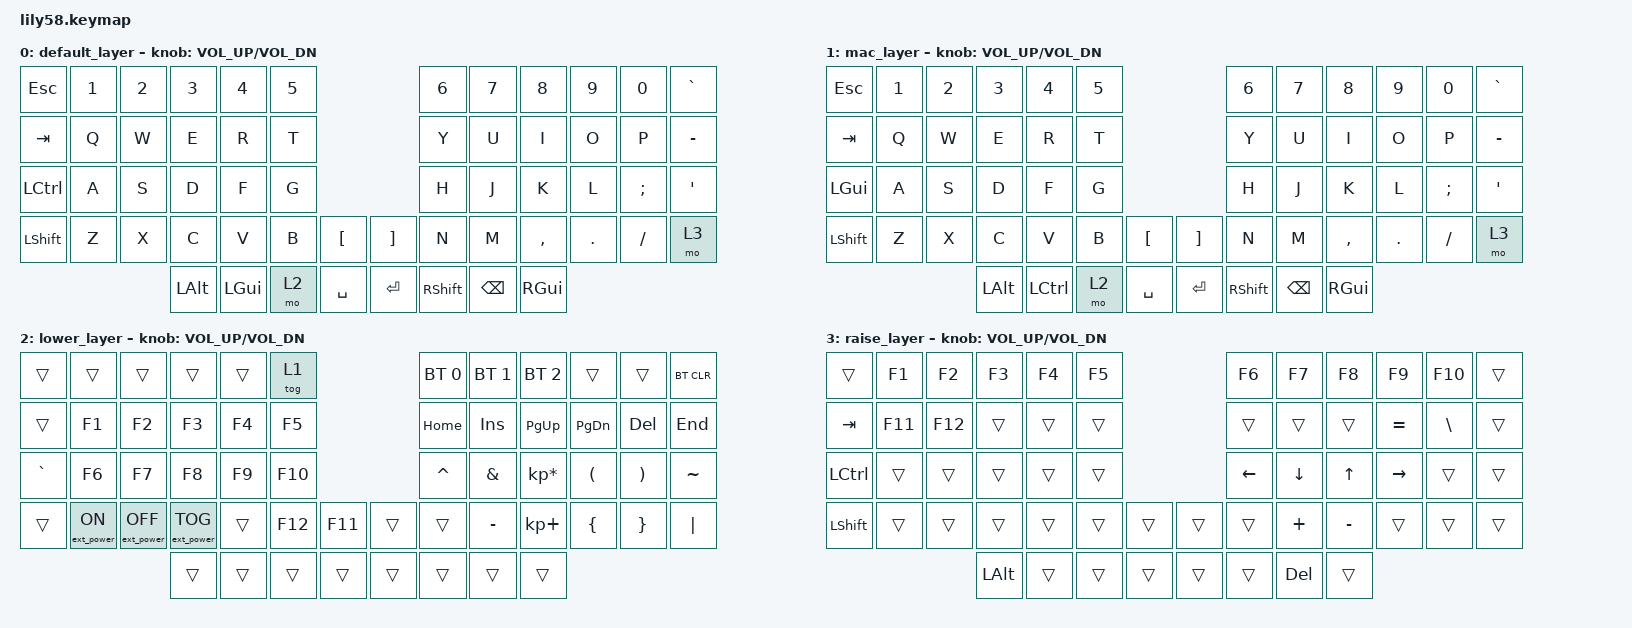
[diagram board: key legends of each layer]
/*
 * Copyright (c) 2020 The ZMK Contributors
 *
 * SPDX-License-Identifier: MIT
 */

#include <behaviors.dtsi>
#include <dt-bindings/zmk/bt.h>
#include <dt-bindings/zmk/ext_power.h>
#include <dt-bindings/zmk/keys.h>

#define WINDOWS 0;
#define MAC 1;

/ {
    keymap {
        compatible = "zmk,keymap";

        default_layer {
            // ------------------------------------------------------------------------------------------------------------
            // |  ESC  |  1  |  2  |  3   |  4   |  5   |                   |  6   |  7    |  8    |  9   |   0   |   `   |
            // |  TAB  |  Q  |  W  |  E   |  R   |  T   |                   |  Y   |  U    |  I    |  O   |   P   |   -   |
            // |  CTRL |  A  |  S  |  D   |  F   |  G   |                   |  H   |  J    |  K    |  L   |   ;   |   '   |
            // | SHIFT |  Z  |  X  |  C   |  V   |  B   |   "["  |  |  "]"  |  N   |  M    |  ,    |  .   |   /   | SHIFT |
            //                     | ALT  | GUI  | LOWER|  SPACE |  | ENTER | RAISE| BSPC  | GUI   |

            bindings = <
&kp ESC    &kp N1  &kp N2  &kp N3    &kp N4    &kp N5                         &kp N6     &kp N7    &kp N8     &kp N9   &kp N0    &kp GRAVE
&kp TAB    &kp Q   &kp W   &kp E     &kp R     &kp T                          &kp Y      &kp U     &kp I      &kp O    &kp P     &kp MINUS
&kp LCTRL  &kp A   &kp S   &kp D     &kp F     &kp G                          &kp H      &kp J     &kp K      &kp L    &kp SEMI  &kp SQT
&kp LSHFT  &kp Z   &kp X   &kp C     &kp V     &kp B   &kp LBKT     &kp RBKT  &kp N      &kp M     &kp COMMA  &kp DOT  &kp FSLH  &mo 3
                           &kp LALT  &kp LGUI  &mo 2   &kp SPACE    &kp RET   &kp RSHFT  &kp BSPC  &kp RGUI
            >;

            sensor-bindings = <&inc_dec_kp C_VOL_UP C_VOL_DN>;
        };

        mac_layer {
            // ------------------------------------------------------------------------------------------------------------
            // |  ESC  |  1  |  2  |  3   |  4   |  5   |                   |  6   |  7    |  8    |  9   |   0   |   `   |
            // |  TAB  |  Q  |  W  |  E   |  R   |  T   |                   |  Y   |  U    |  I    |  O   |   P   |   -   |
            // |  CTRL |  A  |  S  |  D   |  F   |  G   |                   |  H   |  J    |  K    |  L   |   ;   |   '   |
            // | SHIFT |  Z  |  X  |  C   |  V   |  B   |   "["  |  |  "]"  |  N   |  M    |  ,    |  .   |   /   | SHIFT |
            //                     | ALT  | GUI  | LOWER|  SPACE |  | ENTER | RAISE| BSPC  | GUI   |

            bindings = <
&kp ESC    &kp N1  &kp N2  &kp N3    &kp N4     &kp N5                         &kp N6     &kp N7    &kp N8     &kp N9   &kp N0    &kp GRAVE
&kp TAB    &kp Q   &kp W   &kp E     &kp R      &kp T                          &kp Y      &kp U     &kp I      &kp O    &kp P     &kp MINUS
&kp LGUI   &kp A   &kp S   &kp D     &kp F      &kp G                          &kp H      &kp J     &kp K      &kp L    &kp SEMI  &kp SQT
&kp LSHFT  &kp Z   &kp X   &kp C     &kp V      &kp B   &kp LBKT     &kp RBKT  &kp N      &kp M     &kp COMMA  &kp DOT  &kp FSLH  &mo 3
                           &kp LALT  &kp LCTRL  &mo 2   &kp SPACE    &kp RET   &kp RSHFT  &kp BSPC  &kp RGUI
            >;

            sensor-bindings = <&inc_dec_kp C_VOL_UP C_VOL_DN>;
        };

        lower_layer {
            // ------------------------------------------------------------------------------------------------------------
            // | BTCLR | BT1 | BT2 |  BT3 |  BT4 |  BT5 |                   |      |       |       |      |       |       |
            // |  F1   |  F2 |  F3 |  F4  |  F5  |  F6  |                   |  F7  |  F8   |  F9   |  F10 |  F11  |  F12  |
            // |   `   |  !  |  @  |  #   |  $   |  %   |                   |  ^   |  &    |  *    |  (   |   )   |   ~   |
            // |       |     |     |      |      |      |        |  |       |      |  _    |  +    |  {   |   }   |  "|"  |
            //                     |      |      |      |        |  |       |      |       |       |

            bindings = <
&trans     &trans            &trans             &trans             &trans  &tog 1                      &bt BT_SEL 0  &bt BT_SEL 1  &bt BT_SEL 2     &trans         &trans      &bt BT_CLR
&trans     &kp F1            &kp F2             &kp F3             &kp F4  &kp F5                      &kp HOME      &kp INSERT    &kp PAGE_UP      &kp PAGE_DOWN  &kp DELETE  &kp END
&kp GRAVE  &kp F6            &kp F7             &kp F8             &kp F9  &kp F10                     &kp CARET     &kp AMPS      &kp KP_MULTIPLY  &kp LPAR       &kp RPAR    &kp TILDE
&trans     &ext_power EP_ON  &ext_power EP_OFF  &ext_power EP_TOG  &trans  &kp F12  &kp F11    &trans  &trans        &kp MINUS     &kp KP_PLUS      &kp LBRC       &kp RBRC    &kp PIPE
                                                &trans             &trans  &trans   &trans     &trans  &trans        &trans        &trans
            >;

            sensor-bindings = <&inc_dec_kp C_VOL_UP C_VOL_DN>;
        };

        raise_layer {
            // ------------------------------------------------------------------------------------------------------------
            // |       |     |     |      |      |      |                   |      |       |       |      |       |       |
            // |   `   |  1  |  2  |  3   |  4   |  5   |                   |  6   |   7   |   8   |  9   |   0   |       |
            // |   F1  |  F2 |  F3 |  F4  |  F5  |  F6  |                   |      |   <-  |   v   |  ^   |  ->   |       |
            // |   F7  |  F8 |  F9 |  F10 |  F11 |  F12 |        |  |       |  +   |   -   |   =   |  [   |   ]   |   \   |
            //                     |      |      |      |        |  |       |      |       |       |

            bindings = <
&trans      &kp F1   &kp F2   &kp F3    &kp F4  &kp F5                    &kp F6    &kp F7    &kp F8     &kp F9     &kp F10        &trans
&kp TAB     &kp F11  &kp F12  &trans    &trans  &trans                    &trans    &trans    &trans     &kp EQUAL  &kp BACKSLASH  &trans
&kp LCTRL   &trans   &trans   &trans    &trans  &trans                    &kp LEFT  &kp DOWN  &kp UP     &kp RIGHT  &trans         &trans
&kp LSHIFT  &trans   &trans   &trans    &trans  &trans  &trans    &trans  &trans    &kp PLUS  &kp MINUS  &trans     &trans         &trans
                              &kp LALT  &trans  &trans  &trans    &trans  &trans    &kp DEL   &trans
            >;

            sensor-bindings = <&inc_dec_kp C_VOL_UP C_VOL_DN>;
        };
    };
};
